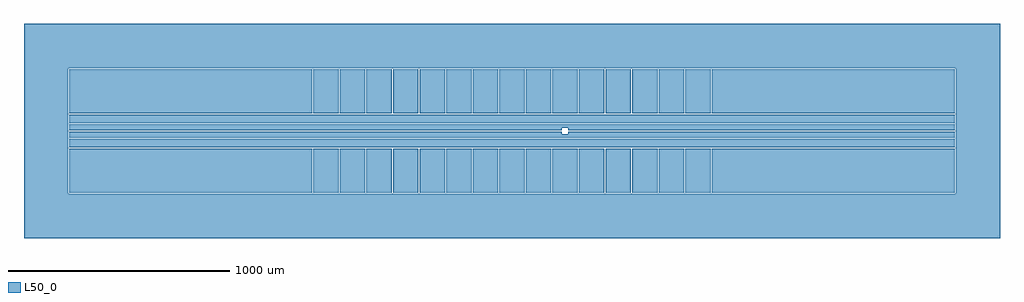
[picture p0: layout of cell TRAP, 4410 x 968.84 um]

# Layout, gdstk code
import gdstk
lib = gdstk.Library(unit=1e-6, precision=1e-09)
def R(c, l, rs):  # rectangles x0, y0, x1, y1
    for r in rs: c.add(gdstk.rectangle(r[:2], r[2:], *l))
def A(c, l, x, y, w, h, nx, ny, dx, dy):  # array of equal rectangles
    R(c, l, [(x+i*dx, y+j*dy, x+i*dx+w, y+j*dy+h) for i in range(nx) for j in range(ny)])
def P(c, l, *ps):  # polygons
    for p in ps: c.add(gdstk.Polygon(p, *l))
L50_0 = (50, 0)

trap = lib.new_cell('TRAP')
A(trap, L50_0, -897.5, -279.42, 115, 200, 15, 2, 120, 358.84)
R(trap, L50_0, [(-2000,-279.42,-902.5,-79.42), (902.5,-279.42,2000,-79.42), (-2000,-74.42,2000,-35), (-2000,35,2000,74.42), (-2000,79.42,-902.5,279.42), (902.5,79.42,2000,279.42)])
P(trap, L50_0, [(2000,30),(-2000,30),(-2000,2.5),(225,2.5),(225,15),(255,15),(255,2.5),(2000,2.5)],
  [(2000,-2.5),(255,-2.5),(255,-15),(225,-15),(225,-2.5),(-2000,-2.5),(-2000,-30),(2000,-30)],
  [(2205,484.42),(-2205,484.42),(-2205,-284.42),(-2005,-284.42),(-2005,284.42),(2005,284.42),(2005,-284.42),(-2005,-284.42),(-2205,-284.42),(-2205,-484.42),(2205,-484.42)])

lib.write_gds('TRAP.gds')
